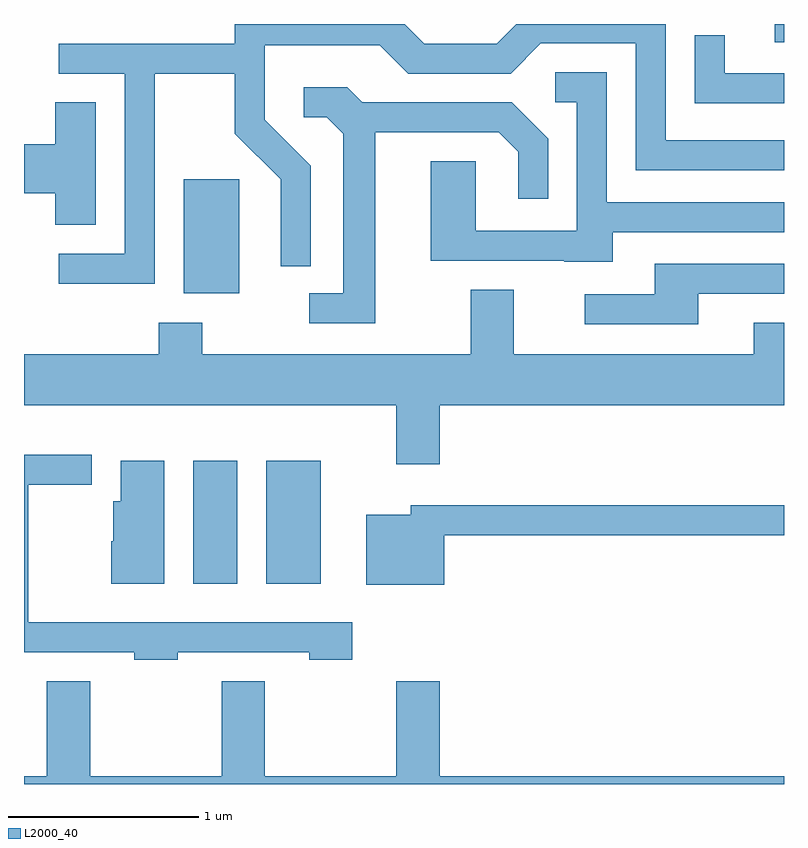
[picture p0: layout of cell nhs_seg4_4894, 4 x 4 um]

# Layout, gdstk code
import gdstk
lib = gdstk.Library(unit=1e-6, precision=1e-09)
def R(c, l, rs):  # rectangles x0, y0, x1, y1
    for r in rs: c.add(gdstk.rectangle(r[:2], r[2:], *l))
def P(c, l, *ps):  # polygons
    for p in ps: c.add(gdstk.Polygon(p, *l))
L2000_40 = (2000, 40)

nhs_seg4_4894 = lib.new_cell('nhs_seg4_4894')
R(nhs_seg4_4894, L2000_40, [(328.501,1387.036,328.734,1387.684), (328.886,1387.036,329.174,1387.684), (328.451,1388.566,328.744,1389.164), (331.561,1389.886,331.611,1389.982)])
P(nhs_seg4_4894, L2000_40, [(328.299,1389.721),(328.721,1389.721),(328.721,1389.404),(328.961,1389.164),(328.961,1388.708),(329.119,1388.708),(329.119,1389.237),(328.879,1389.477),(328.879,1389.871),(329.484,1389.871),(329.634,1389.721),(330.172,1389.721),(330.332,1389.881),(330.831,1389.881),(330.831,1389.211),(331.611,1389.211),(331.611,1389.369),(330.989,1389.369),(330.989,1389.982),(330.202,1389.982),(330.099,1389.879),(329.717,1389.879),(329.614,1389.982),(328.721,1389.982),(328.721,1389.879),(327.793,1389.879),(327.793,1389.721),(328.141,1389.721),(328.141,1388.774),(327.793,1388.774),(327.793,1388.616),(328.299,1388.616)],
  [(331.611,1389.724),(331.299,1389.724),(331.299,1389.923),(331.141,1389.923),(331.141,1389.566),(331.611,1389.566)],
  [(330.709,1388.886),(331.611,1388.886),(331.611,1389.044),(330.679,1389.044),(330.679,1389.729),(330.408,1389.729),(330.408,1389.571),(330.521,1389.571),(330.521,1388.894),(329.989,1388.894),(329.989,1389.259),(329.751,1389.259),(329.751,1388.736),(330.455,1388.736),(330.455,1388.731),(330.709,1388.731)],
  [(329.459,1389.411),(330.109,1389.411),(330.211,1389.309),(330.211,1389.063),(330.369,1389.063),(330.369,1389.377),(330.177,1389.569),(329.392,1389.569),(329.312,1389.649),(329.083,1389.649),(329.083,1389.491),(329.204,1389.491),(329.291,1389.404),(329.291,1388.564),(329.113,1388.564),(329.113,1388.406),(329.459,1388.406)],
  [(327.989,1389.569),(327.776,1389.569),(327.776,1389.349),(327.611,1389.349),(327.611,1389.091),(327.776,1389.091),(327.776,1388.926),(327.989,1388.926)],
  [(331.159,1388.561),(331.611,1388.561),(331.611,1388.719),(330.931,1388.719),(330.931,1388.559),(330.563,1388.559),(330.563,1388.401),(331.159,1388.401)],
  [(329.799,1387.976),(331.611,1387.976),(331.611,1388.409),(331.451,1388.409),(331.451,1388.244),(330.189,1388.244),(330.189,1388.584),(329.961,1388.584),(329.961,1388.244),(328.549,1388.244),(328.549,1388.409),(328.321,1388.409),(328.321,1388.244),(327.611,1388.244),(327.611,1387.976),(329.571,1387.976),(329.571,1387.666),(329.799,1387.666)],
  [(328.419,1386.676),(329.111,1386.676),(329.111,1386.636),(329.339,1386.636),(329.339,1386.834),(327.634,1386.834),(327.634,1387.556),(327.968,1387.556),(327.968,1387.714),(327.611,1387.714),(327.611,1386.676),(328.191,1386.676),(328.191,1386.636),(328.419,1386.636)],
  [(328.349,1387.684),(328.121,1387.684),(328.121,1387.469),(328.081,1387.469),(328.081,1387.26),(328.071,1387.26),(328.071,1387.036),(328.349,1387.036)],
  [(329.824,1387.291),(331.611,1387.291),(331.611,1387.449),(329.646,1387.449),(329.646,1387.399),(329.411,1387.399),(329.411,1387.031),(329.824,1387.031)],
  [(331.611,1386.024),(329.799,1386.024),(329.799,1386.524),(329.571,1386.524),(329.571,1386.024),(328.879,1386.024),(328.879,1386.524),(328.651,1386.524),(328.651,1386.024),(327.959,1386.024),(327.959,1386.524),(327.731,1386.524),(327.731,1386.024),(327.611,1386.024),(327.611,1385.982),(331.611,1385.982)])

lib.write_gds('nhs_seg4_4894.gds')
